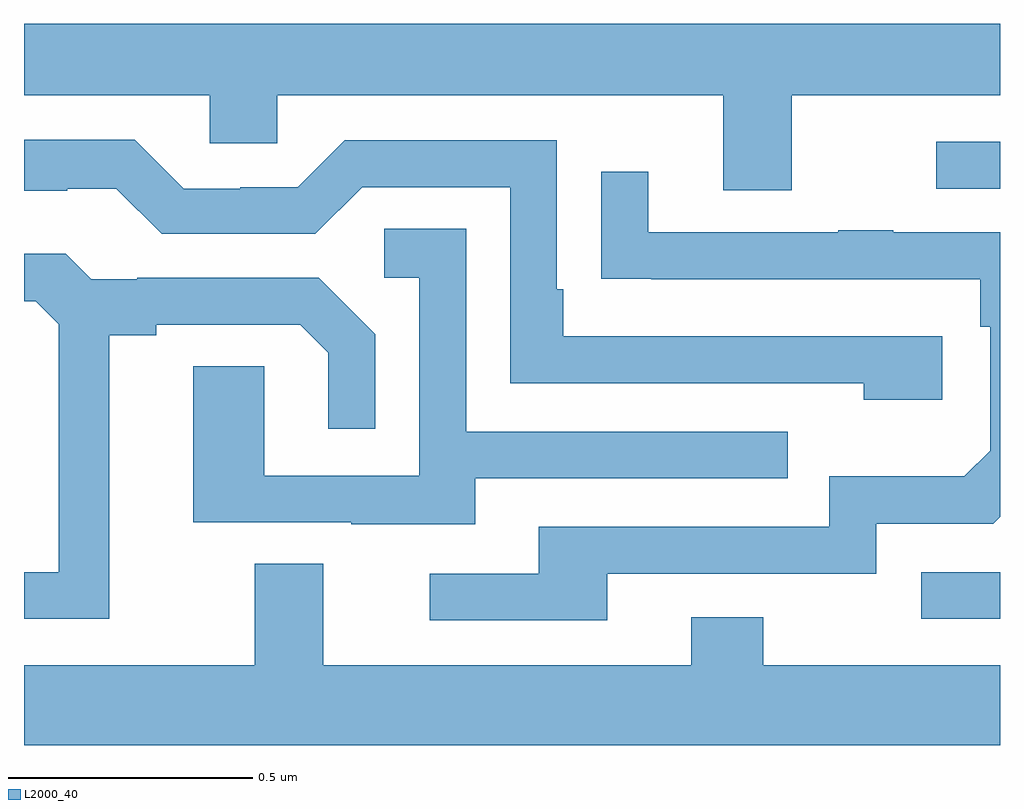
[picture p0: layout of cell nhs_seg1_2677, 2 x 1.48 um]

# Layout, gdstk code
import gdstk
lib = gdstk.Library(unit=1e-6, precision=1e-09)
def R(c, l, rs):  # rectangles x0, y0, x1, y1
    for r in rs: c.add(gdstk.rectangle(r[:2], r[2:], *l))
def P(c, l, *ps):  # polygons
    for p in ps: c.add(gdstk.Polygon(p, *l))
L2000_40 = (2000, 40)

nhs_seg1_2677 = lib.new_cell('nhs_seg1_2677')
R(nhs_seg1_2677, L2000_40, [(145.839,563.979,146,564.075), (145.869,564.861,146,564.957)])
P(nhs_seg1_2677, L2000_40, [(145.573,565.052),(146,565.052),(146,565.199),(144,565.199),(144,565.052),(144.381,565.052),(144.381,564.954),(144.519,564.954),(144.519,565.052),(145.433,565.052),(145.433,564.858),(145.573,564.858)],
  [(145.882,564.558),(145.105,564.558),(145.105,564.655),(145.092,564.655),(145.092,564.96),(144.657,564.96),(144.561,564.864),(144.443,564.864),(144.443,564.861),(144.327,564.861),(144.227,564.961),(144,564.961),(144,564.857),(144.089,564.857),(144.089,564.861),(144.189,564.861),(144.282,564.768),(144.597,564.768),(144.693,564.864),(144.996,564.864),(144.996,564.462),(145.721,564.462),(145.721,564.428),(145.882,564.428)],
  [(145.195,564.072),(145.746,564.072),(145.746,564.174),(145.986,564.174),(146,564.188),(146,564.771),(145.781,564.771),(145.781,564.776),(145.669,564.776),(145.669,564.771),(145.279,564.771),(145.279,564.895),(145.183,564.895),(145.183,564.676),(145.285,564.676),(145.285,564.675),(145.96,564.675),(145.96,564.578),(145.98,564.578),(145.98,564.324),(145.927,564.271),(145.65,564.271),(145.65,564.168),(145.055,564.168),(145.055,564.072),(144.831,564.072),(144.831,563.976),(145.195,563.976)],
  [(144.925,564.267),(145.565,564.267),(145.565,564.363),(144.906,564.363),(144.906,564.779),(144.738,564.779),(144.738,564.678),(144.81,564.678),(144.81,564.273),(144.492,564.273),(144.492,564.497),(144.347,564.497),(144.347,564.177),(144.671,564.177),(144.671,564.173),(144.925,564.173)],
  [(144.175,564.56),(144.271,564.56),(144.271,564.582),(144.566,564.582),(144.623,564.525),(144.623,564.369),(144.72,564.369),(144.72,564.562),(144.604,564.678),(144.232,564.678),(144.232,564.675),(144.138,564.675),(144.086,564.727),(144,564.727),(144,564.63),(144.024,564.63),(144.071,564.583),(144.071,564.075),(144,564.075),(144,563.979),(144.175,563.979)],
  [(146,563.884),(145.515,563.884),(145.515,563.983),(145.367,563.983),(145.367,563.884),(144.613,563.884),(144.613,564.092),(144.473,564.092),(144.473,563.884),(144,563.884),(144,563.72),(146,563.72)])

lib.write_gds('nhs_seg1_2677.gds')
